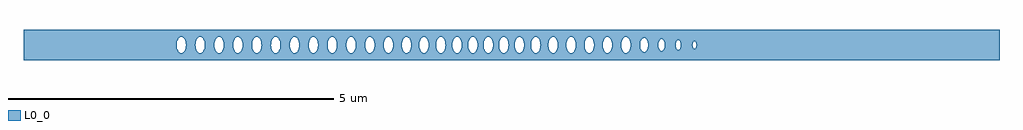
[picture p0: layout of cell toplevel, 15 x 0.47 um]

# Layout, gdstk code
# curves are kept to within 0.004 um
import gdstk
lib = gdstk.Library(unit=1e-6, precision=1e-09)
def P(c, l, *ps):  # polygons
    for p in ps: c.add(gdstk.Polygon(p, *l))
L0_0 = (0, 0)

toplevel = lib.new_cell('toplevel')
P(toplevel, L0_0, [(-4.485,-0.234),(-4.485,-0.126),(-4.513,-0.123),(-4.541,-0.098),(-4.556,-0.068),(-4.567,-0.008),(-4.562,0.047),(-4.541,0.098),(-4.521,0.119),(-4.485,0.126),(-4.485,0.234),(-7.5,0.234),(-7.5,-0.008),(-5.147,-0.008),(-5.142,0.047),(-5.124,0.093),(-5.101,0.119),(-5.075,0.128),(-5.048,0.119),(-5.025,0.093),(-5.007,0.047),(-5.002,-0.008),(-4.857,-0.008),(-4.852,0.047),(-4.834,0.093),(-4.811,0.119),(-4.785,0.128),(-4.758,0.119),(-4.738,0.098),(-4.723,0.068),(-4.712,0.008),(-4.717,-0.047),(-4.735,-0.093),(-4.758,-0.119),(-4.785,-0.128),(-4.811,-0.119),(-4.831,-0.098),(-4.846,-0.068),(-4.857,-0.008),(-5.002,-0.008),(-5.013,-0.068),(-5.028,-0.098),(-5.048,-0.119),(-5.075,-0.128),(-5.101,-0.119),(-5.121,-0.098),(-5.136,-0.068),(-5.147,-0.008),(-7.5,-0.008),(-7.5,-0.234)],
  [(-4.423,-0.024),(-4.433,-0.068),(-4.448,-0.098),(-4.468,-0.119),(-4.485,-0.126),(-4.485,-0.234),(-3.696,-0.234),(-3.696,0.234),(-4.485,0.234),(-4.485,0.126),(-4.456,0.108),(-4.436,0.075),(-4.424,0.032),(-4.422,-0.008),(-4.277,-0.008),(-4.272,0.047),(-4.254,0.093),(-4.231,0.119),(-4.205,0.128),(-4.178,0.119),(-4.155,0.093),(-4.137,0.047),(-4.132,-0.008),(-3.987,-0.008),(-3.982,0.047),(-3.961,0.098),(-3.928,0.125),(-3.915,0.128),(-3.888,0.119),(-3.868,0.098),(-3.853,0.068),(-3.842,-0.008),(-3.847,-0.047),(-3.865,-0.093),(-3.88,-0.112),(-3.901,-0.125),(-3.933,-0.123),(-3.961,-0.098),(-3.976,-0.068),(-3.987,-0.008),(-4.132,-0.008),(-4.143,-0.068),(-4.158,-0.098),(-4.178,-0.119),(-4.205,-0.128),(-4.231,-0.119),(-4.251,-0.098),(-4.266,-0.068),(-4.277,-0.008),(-4.422,-0.008)],
  [(-3.693,0.039),(-3.671,0.098),(-3.651,0.119),(-3.625,0.128),(-3.598,0.119),(-3.575,0.093),(-3.557,0.047),(-3.552,-0.008),(-3.407,-0.008),(-3.402,0.047),(-3.384,0.093),(-3.361,0.119),(-3.335,0.128),(-3.308,0.119),(-3.285,0.093),(-3.267,0.047),(-3.262,-0.008),(-3.273,-0.068),(-3.288,-0.098),(-3.308,-0.119),(-3.335,-0.128),(-3.361,-0.119),(-3.381,-0.098),(-3.396,-0.068),(-3.407,-0.008),(-3.552,-0.008),(-3.563,-0.068),(-3.578,-0.098),(-3.598,-0.119),(-3.625,-0.128),(-3.651,-0.119),(-3.671,-0.098),(-3.686,-0.068),(-3.696,-0.026),(-3.696,-0.234),(-3.031,-0.234),(-3.031,-0.125),(-3.063,-0.123),(-3.091,-0.098),(-3.106,-0.068),(-3.117,-0.008),(-3.112,0.047),(-3.091,0.098),(-3.063,0.123),(-3.031,0.125),(-3.031,0.234),(-3.696,0.234)],
  [(-2.976,-0.039),(-2.998,-0.098),(-3.031,-0.125),(-3.031,-0.234),(-2.237,-0.234),(-2.237,-0.068),(-2.248,-0.016),(-2.246,0.032),(-2.237,0.068),(-2.237,0.234),(-3.031,0.234),(-3.031,0.125),(-3.006,0.108),(-2.986,0.075),(-2.977,0.047),(-2.972,-0.008),(-2.827,-0.008),(-2.822,0.047),(-2.804,0.093),(-2.781,0.119),(-2.755,0.128),(-2.728,0.119),(-2.705,0.093),(-2.687,0.047),(-2.682,-0.008),(-2.537,-0.008),(-2.534,0.039),(-2.514,0.093),(-2.491,0.119),(-2.465,0.128),(-2.438,0.119),(-2.426,0.108),(-2.397,0.047),(-2.392,-0.008),(-2.406,-0.075),(-2.43,-0.112),(-2.465,-0.128),(-2.491,-0.119),(-2.511,-0.098),(-2.526,-0.068),(-2.537,-0.008),(-2.682,-0.008),(-2.691,-0.061),(-2.708,-0.098),(-2.728,-0.119),(-2.755,-0.128),(-2.781,-0.119),(-2.801,-0.098),(-2.816,-0.068),(-2.827,-0.008),(-2.972,-0.008)],
  [(-1.685,0.016),(-1.675,0.068),(-1.66,0.098),(-1.632,0.123),(-1.6,0.125),(-1.6,0.234),(-2.237,0.234),(-2.237,0.068),(-2.222,0.098),(-2.202,0.119),(-2.176,0.128),(-2.149,0.119),(-2.126,0.093),(-2.112,0.061),(-2.104,-0.016),(-1.963,-0.016),(-1.961,0.032),(-1.95,0.075),(-1.926,0.112),(-1.891,0.128),(-1.864,0.119),(-1.845,0.098),(-1.832,0.075),(-1.819,0.016),(-1.821,-0.032),(-1.832,-0.075),(-1.856,-0.112),(-1.891,-0.128),(-1.918,-0.119),(-1.941,-0.093),(-1.955,-0.061),(-1.963,-0.016),(-2.104,-0.016),(-2.108,-0.047),(-2.126,-0.093),(-2.149,-0.119),(-2.176,-0.128),(-2.211,-0.112),(-2.237,-0.068),(-2.237,-0.234),(-1.6,-0.234),(-1.6,-0.125),(-1.632,-0.123),(-1.66,-0.098),(-1.681,-0.047)],
  [(-1.6,0.234),(-1.6,0.125),(-1.575,0.108),(-1.555,0.075),(-1.541,0),(-1.418,0),(-1.411,0.054),(-1.395,0.093),(-1.372,0.119),(-1.345,0.128),(-1.318,0.119),(-1.299,0.098),(-1.284,0.068),(-1.273,0.016),(-1.276,-0.039),(-1.289,-0.081),(-1.318,-0.119),(-1.345,-0.128),(-1.372,-0.119),(-1.395,-0.093),(-1.411,-0.054),(-1.418,0),(-1.541,0),(-1.555,-0.075),(-1.575,-0.108),(-1.6,-0.125),(-1.6,-0.234),(-1.015,-0.234),(-1.015,-0.026),(-1.025,-0.068),(-1.04,-0.098),(-1.06,-0.119),(-1.086,-0.128),(-1.113,-0.119),(-1.136,-0.093),(-1.154,-0.047),(-1.159,-0.008),(-1.154,0.047),(-1.145,0.075),(-1.125,0.108),(-1.1,0.125),(-1.073,0.125),(-1.051,0.112),(-1.025,0.068),(-1.015,0.024),(-1.015,0.234)],
  [(-0.387,0.234),(-0.387,0.115),(-0.356,0.128),(-0.329,0.119),(-0.317,0.108),(-0.29,0.054),(-0.284,-0.008),(-0.191,-0.008),(-0.186,0.047),(-0.168,0.093),(-0.145,0.119),(-0.119,0.128),(-0.092,0.119),(-0.072,0.098),(-0.057,0.068),(-0.046,0.008),(-0.051,-0.047),(-0.069,-0.093),(-0.092,-0.119),(-0.119,-0.128),(-0.145,-0.119),(-0.165,-0.098),(-0.18,-0.068),(-0.191,-0.008),(-0.284,-0.008),(-0.292,-0.061),(-0.317,-0.108),(-0.329,-0.119),(-0.356,-0.128),(-0.387,-0.115),(-0.387,-0.234),(0.181,-0.234),(0.181,-0.075),(0.149,-0.119),(0.122,-0.128),(0.108,-0.125),(0.087,-0.112),(0.072,-0.093),(0.058,-0.061),(0.05,-0.016),(0.058,0.061),(0.072,0.093),(0.095,0.119),(0.122,0.128),(0.149,0.119),(0.181,0.075),(0.181,0.234)],
  [(0.844,0.016),(0.854,0.068),(0.877,0.108),(0.877,0.234),(0.181,0.234),(0.181,0.074),(0.191,0.039),(0.194,-0.016),(0.301,-0.016),(0.304,0.039),(0.317,0.081),(0.346,0.119),(0.373,0.128),(0.4,0.119),(0.423,0.093),(0.439,0.054),(0.445,-0.016),(0.567,-0.016),(0.569,0.032),(0.58,0.075),(0.604,0.112),(0.639,0.128),(0.666,0.119),(0.689,0.093),(0.705,0.054),(0.711,0.016),(0.709,-0.032),(0.698,-0.075),(0.674,-0.112),(0.639,-0.128),(0.612,-0.119),(0.589,-0.093),(0.573,-0.054),(0.567,-0.016),(0.445,-0.016),(0.439,-0.054),(0.423,-0.093),(0.4,-0.119),(0.373,-0.128),(0.346,-0.119),(0.327,-0.098),(0.312,-0.068),(0.301,-0.016),(0.194,-0.016),(0.181,-0.075),(0.181,-0.234),(0.877,-0.234),(0.877,-0.108),(0.848,-0.047)],
  [(2.258,0.234),(1.525,0.234),(1.525,0.093),(1.541,0.054),(1.548,0),(1.685,0),(1.692,0.054),(1.708,0.093),(1.731,0.119),(1.758,0.128),(1.785,0.119),(1.811,0.087),(1.827,0.039),(1.83,-0.014),(1.976,-0.014),(1.98,0.041),(1.99,0.071),(2.015,0.103),(2.038,0.111),(2.061,0.103),(2.081,0.081),(2.1,0.014),(2.091,-0.059),(2.075,-0.089),(2.05,-0.109),(2.026,-0.109),(2.001,-0.089),(1.99,-0.071),(1.976,-0.014),(1.83,-0.014),(1.811,-0.087),(1.785,-0.119),(1.758,-0.128),(1.731,-0.119),(1.708,-0.093),(1.692,-0.054),(1.685,0),(1.548,0),(1.541,-0.054),(1.525,-0.093),(1.525,-0.234),(2.258,-0.234)],
  [(2.26,0.04),(2.284,0.085),(2.31,0.094),(2.329,0.085),(2.347,0.06),(2.358,0.018),(2.358,-0.014),(2.522,-0.014),(2.531,0.049),(2.546,0.07),(2.566,0.077),(2.581,0.07),(2.596,0.049),(2.605,-0.008),(2.781,-0.008),(2.791,0.044),(2.801,0.056),(2.817,0.06),(2.836,0.041),(2.844,-0.011),(2.83,-0.051),(2.809,-0.06),(2.791,-0.044),(2.781,-0.008),(2.605,-0.008),(2.594,-0.053),(2.581,-0.07),(2.566,-0.077),(2.541,-0.065),(2.522,-0.014),(2.358,-0.014),(2.345,-0.064),(2.329,-0.085),(2.31,-0.094),(2.294,-0.091),(2.276,-0.076),(2.258,-0.035),(2.258,-0.234),(7.5,-0.234),(7.5,0.234),(2.258,0.234)],
  [(-0.666,0.016),(-0.658,0.061),(-0.658,0.234),(-1.015,0.234),(-1.014,-0.008),(-0.909,-0.008),(-0.906,0.039),(-0.886,0.093),(-0.863,0.119),(-0.837,0.128),(-0.81,0.119),(-0.787,0.093),(-0.769,0.047),(-0.764,0.008),(-0.769,-0.047),(-0.787,-0.093),(-0.81,-0.119),(-0.837,-0.128),(-0.863,-0.119),(-0.883,-0.098),(-0.898,-0.068),(-0.909,-0.008),(-1.014,-0.008),(-1.015,-0.234),(-0.658,-0.234),(-0.658,-0.061)],
  [(-0.653,0.075),(-0.621,0.119),(-0.594,0.128),(-0.568,0.119),(-0.548,0.098),(-0.533,0.068),(-0.524,0.032),(-0.522,-0.016),(-0.541,-0.087),(-0.559,-0.112),(-0.581,-0.125),(-0.594,-0.128),(-0.621,-0.119),(-0.644,-0.093),(-0.658,-0.061),(-0.658,-0.234),(-0.387,-0.234),(-0.387,-0.115),(-0.412,-0.081),(-0.428,-0.016),(-0.426,0.032),(-0.417,0.068),(-0.387,0.115),(-0.387,0.234),(-0.658,0.234),(-0.658,0.061)],
  [(0.987,-0.024),(0.974,-0.075),(0.942,-0.119),(0.916,-0.128),(0.889,-0.119),(0.877,-0.108),(0.877,-0.234),(1.213,-0.234),(1.213,-0.123),(1.182,-0.125),(1.149,-0.098),(1.134,-0.068),(1.123,-0.008),(1.126,0.039),(1.149,0.098),(1.182,0.125),(1.213,0.123),(1.213,0.234),(0.877,0.234),(0.877,0.108),(0.889,0.119),(0.916,0.128),(0.942,0.119),(0.954,0.108),(0.983,0.047)],
  [(1.525,-0.093),(1.51,-0.112),(1.489,-0.125),(1.475,-0.128),(1.449,-0.119),(1.419,-0.081),(1.403,-0.016),(1.405,0.032),(1.414,0.068),(1.44,0.112),(1.462,0.125),(1.489,0.125),(1.51,0.112),(1.525,0.093),(1.525,0.234),(1.213,0.234),(1.213,0.123),(1.234,0.108),(1.254,0.075),(1.268,0.008),(1.263,-0.047),(1.254,-0.075),(1.234,-0.108),(1.213,-0.123),(1.213,-0.234),(1.525,-0.234)])

lib.write_gds('toplevel.gds')
